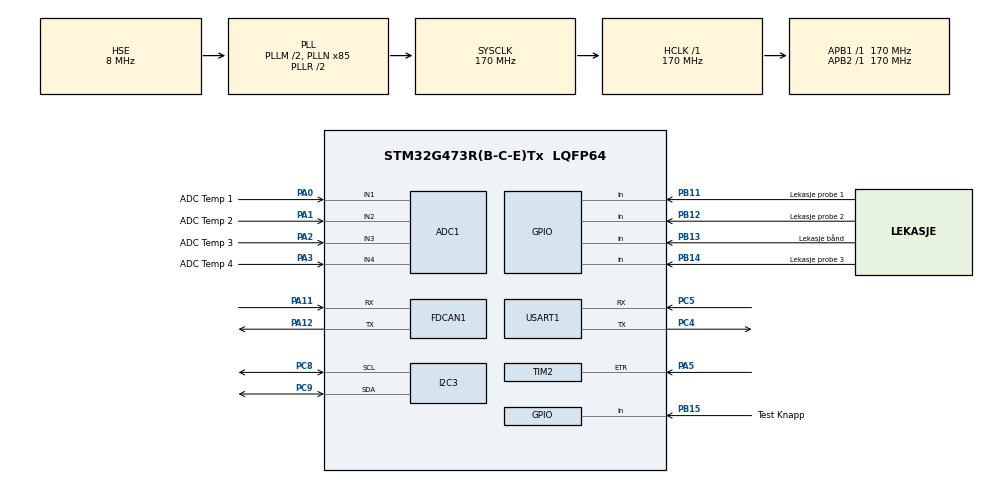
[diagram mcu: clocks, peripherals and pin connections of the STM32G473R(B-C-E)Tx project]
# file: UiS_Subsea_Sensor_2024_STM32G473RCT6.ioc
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ADC1.Channel-0\#ChannelRegularConversion=ADC_CHANNEL_1
ADC1.ContinuousConvMode=ENABLE
ADC1.DMAContinuousRequests=ENABLE
ADC1.NbrOfConversionFlag=1
ADC1.OffsetNumber-0\#ChannelRegularConversion=ADC_OFFSET_NONE
ADC1.Rank-0\#ChannelRegularConversion=1
ADC1.SamplingTime-0\#ChannelRegularConversion=ADC_SAMPLETIME_2CYCLES_5
ADC1.master=1
Dma.ADC1.0.Direction=DMA_PERIPH_TO_MEMORY
Dma.ADC1.0.EventEnable=DISABLE
Dma.ADC1.0.Instance=DMA1_Channel1
Dma.ADC1.0.MemDataAlignment=DMA_MDATAALIGN_HALFWORD
Dma.ADC1.0.MemInc=DMA_MINC_ENABLE
Dma.ADC1.0.Mode=DMA_NORMAL
Dma.ADC1.0.PeriphDataAlignment=DMA_PDATAALIGN_HALFWORD
Dma.ADC1.0.PeriphInc=DMA_PINC_DISABLE
Dma.ADC1.0.Polarity=HAL_DMAMUX_REQ_GEN_RISING
Dma.ADC1.0.Priority=DMA_PRIORITY_LOW
Dma.ADC1.0.RequestNumber=1
Dma.ADC1.0.SignalID=NONE
Dma.ADC1.0.SyncEnable=DISABLE
Dma.ADC1.0.SyncPolarity=HAL_DMAMUX_SYNC_NO_EVENT
Dma.ADC1.0.SyncRequestNumber=1
Dma.ADC1.0.SyncSignalID=NONE
Dma.Request0=ADC1
FDCAN1.AutoRetransmission=ENABLE
FDCAN1.CalculateBaudRateNominal=999999
FDCAN1.CalculateTimeBitNominal=1000
FDCAN1.CalculateTimeQuantumNominal=5.882352941176471
FDCAN1.DataPrescaler=2
FDCAN1.DataSyncJumpWidth=12
FDCAN1.DataTimeSeg1=21
FDCAN1.DataTimeSeg2=12
FDCAN1.FrameFormat=FDCAN_FRAME_FD_BRS
FDCAN1.Mode=FDCAN_MODE_NORMAL
FDCAN1.NominalPrescaler=1
FDCAN1.NominalSyncJumpWidth=44
FDCAN1.NominalTimeSeg1=125
FDCAN1.NominalTimeSeg2=44
FDCAN1.StdFiltersNbr=1
I2C3.Timing=0x30A0A7FB
Mcu.Family=STM32G4
Mcu.Name=STM32G473R(B-C-E)Tx
Mcu.Package=LQFP64
NVIC.ADC1_2_IRQn=true\:3\:0\:true\:false\:true\:true\:true\:true
NVIC.DMA1_Channel1_IRQn=true\:0\:0\:false\:false\:true\:false\:true\:true
NVIC.FDCAN1_IT0_IRQn=true\:0\:0\:false\:false\:true\:true\:true\:true
NVIC.FDCAN1_IT1_IRQn=true\:0\:0\:false\:false\:true\:true\:true\:true
NVIC.I2C3_EV_IRQn=true\:3\:0\:true\:false\:true\:true\:true\:true
NVIC.PriorityGroup=NVIC_PRIORITYGROUP_4
NVIC.TIM2_IRQn=true\:5\:0\:true\:false\:true\:true\:true\:true
NVIC.USART1_IRQn=true\:2\:0\:true\:false\:true\:true\:true\:true
PA0.GPIO_Label=ADC Temp 1
PA0.Mode=IN1-Single-Ended
PA0.Signal=ADC1_IN1
PA1.GPIO_Label=ADC Temp 2
PA1.Mode=IN2-Single-Ended
PA1.Signal=ADC1_IN2
PA11.Mode=FDCAN_Activate
PA11.Signal=FDCAN1_RX
PA12.Mode=FDCAN_Activate
PA12.Signal=FDCAN1_TX
PA13.Mode=Trace_Asynchronous_SW
PA13.Signal=SYS_JTMS-SWDIO
PA14.Mode=Trace_Asynchronous_SW
PA14.Signal=SYS_JTCK-SWCLK
PA2.GPIO_Label=ADC Temp 3
PA2.Mode=IN3-Single-Ended
PA2.Signal=ADC1_IN3
PA3.GPIO_Label=ADC Temp 4
PA3.Mode=IN4-Single-Ended
PA3.Signal=ADC1_IN4
PA5.Signal=S_TIM2_ETR
PB11.GPIO_Label=Lekasje probe 1
PB11.Signal=GPIO_Input
PB12.GPIO_Label=Lekasje probe 2
PB12.Signal=GPIO_Input
PB13.GPIO_Label=Lekasje b\u00E5nd
PB13.Signal=GPIO_Input
PB14.GPIO_Label=Lekasje probe 3
PB14.Signal=GPIO_Input
PB15.GPIO_Label=Test Knapp
PB15.Signal=GPIO_Input
PB3.Mode=Trace_Asynchronous_SW
PB3.Signal=SYS_JTDO-SWO
PC4.Mode=Asynchronous
PC4.Signal=USART1_TX
PC5.Mode=Asynchronous
PC5.Signal=USART1_RX
PC8.Mode=I2C
PC8.Signal=I2C3_SCL
PC9.Mode=I2C
PC9.Signal=I2C3_SDA
PF0-OSC_IN.Mode=HSE-External-Oscillator
PF0-OSC_IN.Signal=RCC_OSC_IN
PF1-OSC_OUT.Mode=HSE-External-Oscillator
PF1-OSC_OUT.Signal=RCC_OSC_OUT
ProjectManager.HeapSize=0x200
ProjectManager.StackSize=0x400
ProjectManager.TargetToolchain=STM32CubeIDE
RCC.ADC12Freq_Value=170000000
RCC.ADC345Freq_Value=170000000
RCC.AHBFreq_Value=170000000
RCC.APB1Freq_Value=170000000
RCC.APB1TimFreq_Value=170000000
RCC.APB2Freq_Value=170000000
RCC.APB2TimFreq_Value=170000000
RCC.CortexFreq_Value=170000000
RCC.EXTERNAL_CLOCK_VALUE=12288000
RCC.HCLKFreq_Value=170000000
RCC.HSE_VALUE=8000000
RCC.HSI48_VALUE=48000000
RCC.HSI_VALUE=16000000
RCC.LSE_VALUE=32768
RCC.PLLM=RCC_PLLM_DIV2
RCC.PLLN=85
RCC.PLLSourceVirtual=RCC_PLLSOURCE_HSE
RCC.SYSCLKFreq_VALUE=170000000
RCC.SYSCLKSource=RCC_SYSCLKSOURCE_PLLCLK
RCC.USBFreq_Value=170000000
RCC.VCOOutputFreq_Value=340000000
SH.S_TIM2_ETR.0=TIM2_ETR,ClockSourceETR_Mode2
TIM3.PeriodNoDither=1000-1
TIM3.Prescaler=16000-1
TIM3.TIM_MasterSlaveMode=TIM_MASTERSLAVEMODE_ENABLE
USART1.VirtualMode-Asynchronous=VM_ASYNC
VP_CORDIC_VS_CORDIC.Mode=CORDIC_Activate
VP_CRC_VS_CRC.Mode=CRC_Activate
VP_FMAC_VS_FMAC.Mode=FMAC_Activate
VP_SYS_VS_DBSignals.Mode=DisableDeadBatterySignals
VP_TIM2_VS_ClockSourceITR.Mode=TriggerSource_ITR0
VP_TIM3_VS_ClockSourceINT.Mode=Internal
board=custom

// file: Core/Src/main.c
/* USER CODE BEGIN Header */
/**
  ******************************************************************************
  * @file           : main.c
  * @brief          : Main program body
  ******************************************************************************
  * @attention
  *
  * Copyright (c) 2024 STMicroelectronics.
  * All rights reserved.
  *
  * This software is licensed under terms that can be found in the LICENSE file
  * in the root directory of this software component.
  * If no LICENSE file comes with this software, it is provided AS-IS.
  *
  ******************************************************************************
  */
/* USER CODE END Header */
#include "main.h"
#include "adc.h"
#include "cordic.h"
#include "crc.h"
#include "dma.h"
#include "fdcan.h"
#include "fmac.h"
#include "i2c.h"
#include "tim.h"
#include "usart.h"
#include "gpio.h"

/* USER CODE BEGIN Includes */
#include <stdint.h>
#include <stdlib.h>
#include <string.h>
#include <stdio.h>
#include "MS5837-30BA.h"
//#include "arm_math.h"
#include "EMA.h"
/* USER CODE END Includes */

/* USER CODE BEGIN PD */
#define numChannels 4
#define __VREFANALOG_VOLTAGE_ 3300
/* USER CODE END PD */

/* USER CODE BEGIN PV */

//-----------------lekkasje------------
uint8_t lekkasje = 0;

//-----------------Temp----------------
EMA ema_filter;

uint8_t convCompleted = 0;

//uint16_t temp1 = 0;
//uint16_t temp2 = 0;
//uint16_t temp3 = 0;
//uint16_t temp4 = 0;

uint16_t tempBuf[numChannels];
uint16_t filtrertTemp[numChannels];

//-----------------Trykk---------------------

//static const uint8_t pressure_sensor_adress = 0x76 << 1;//7Bit adresse plus les/skriv bit
//static const uint8_t reset_pressure_sens = 0x1E;
//static const uint8_t press_sens_temp_reg = 0x40;
//static const uint8_t press_sens_pres_reg = 0x42;
//static const uint8_t pressuresens_read = 0x00;

//-----------------DVL-----------------------
struct m_wrz wrz;
struct m_wru wru;
struct m_wrp wrp;
uint8_t send_msg = 0;
uint8_t send_dvl = 0;
uint8_t new_uart = 0;
uint8_t dvl_mask = 0;
uint8_t dvl_mask2 = 0;
char dvl_conf[] = "wcs,1481,,y,n,,";
char rx_buffer[MAX_AMOUNT_BUFFERS][RX_BUFFER_SIZE];
char DVL_Parced[MAX_AMOUNT_BUFFERS][MAX_NUM_WORDS][MAX_WORD_LENGTH];

// Velger samplingsrate (se enum i MS5837-30BA.c)
ms5837_t pressuresensor; // Initialiserer en pressuresensor struct
/* USER CODE END PV */

void SystemClock_Config(void);

int main(void)
{
  /* USER CODE BEGIN 1 */

	//-------------------Temp---------------
	float alpha = 0.5f; // Definer alfa-verdi for EMA-filter

	//------------TRYKK----------------

	HAL_StatusTypeDef i2c_ret;
	uint8_t i2c_buffer[10];

	pressuresensor.i2c_address = 0x76; // Setter adressen til riktig adresse

	//-------------------DVL----------------
	char rx_buffer[MAX_AMOUNT_BUFFERS][RX_BUFFER_SIZE];
	char DVL_Parced[MAX_AMOUNT_BUFFERS][RX_BUFFER_SIZE];

  /* USER CODE END 1 */

  /* MCU Configuration--------------------------------------------------------*/

  /* Reset of all peripherals, Initializes the Flash interface and the Systick. */
  HAL_Init();

  /* USER CODE BEGIN Init */
  EMA_Init(&ema_filter, alpha);
  /* USER CODE END Init */

  /* Configure the system clock */
  SystemClock_Config();

  /* Initialize all configured peripherals */
  MX_GPIO_Init();
  MX_DMA_Init();
  MX_ADC1_Init();
  MX_FDCAN1_Init();
  MX_I2C3_Init();
  MX_USART1_UART_Init();
  MX_CORDIC_Init();
  MX_CRC_Init();
  MX_FMAC_Init();
  MX_TIM2_Init();
  MX_TIM3_Init();
  /* USER CODE BEGIN 2 */

  //-----------CANFD Oppstart--------------
  CANFD_Init();

  //-----------UART Oppstart---------------
  LL_USART_EnableIT_RXNE(USART1);
  LL_USART_EnableIT_ERROR(USART1);
  //------------Temp oppstart---------------------------

  HAL_ADCEx_Calibration_Start(&hadc1, ADC_SINGLE_ENDED);
  HAL_ADC_Start_DMA(&hadc1, (uint32_t*) tempBuf, numChannels);
  HAL_TIM_Base_Start(&htim3);
  //-----------pressuresensor/I2C Oppstart----

  //Nullstill sensor
  ms5837_reset(&pressuresensor); // Nullstiller pressuresensoren
  HAL_Delay(30);
  ms5837_read_calibration_data(&pressuresensor); // Henter ut kalibreringsverdier
  ms5837_start_conversion(&pressuresensor, SENSOR_PRESSURE, OSR_4096);
  // Read calibration data

  //--------------------------------------

  /* USER CODE END 2 */

  /* Infinite loop */
  while (1)
  {

    /* USER CODE BEGIN 3 */

	  //------------TRYKK---------------

	  //-----------TEMP-----------------
	  while (convCompleted !=1){

	  	  }

	  	  convCompleted = 0;

	  	  HAL_ADC_Start_DMA(&hadc1, (uint32_t*)tempBuf, numChannels);

	  //pressuresensor
//	  if (ms5837_read_calibration_data(&pressuresensor)) {
//	      // Klarer å lese
//		  ms5837_start_conversion(&pressuresensor, type, osr); // Begynner konvertering av verdi
//		  ms5837_read_conversion(&pressuresensor); // Leser konvertert verdi
//		  ms5837_calculate(&pressuresensor); // Beregner faktisk for verdi temp og trykk
//	  } else {
//	      // Klarer ikke å lese
//	  }

//		uint8_t liste1[] = {0x18, 0x34, 0x56, 0x34, 0x56, 0x34, 0x34, 0x22,0x12, 0x34, 0x56, 0x34, 0x56, 0x34, 0x34, 0x22,0x12, 0x34, 0x56, 0x34, 0x56, 0x34, 0x34, 0x22,0x12, 0x34, 0x56, 0x34, 0x56, 0x34, 0x34, 0x22,0x12, 0x34, 0x56, 0x34, 0x56, 0x34, 0x34, 0x22,0x12, 0x34, 0x56, 0x34, 0x56, 0x34, 0x34, 0x22,0x12, 0x34, 0x56, 0x34, 0x56, 0x34, 0x34, 0x22,0x12, 0x34, 0x56, 0x34, 0x56, 0x34, 0x34, 0x22};
//			SendData(0x310, liste1, sizeof(liste1), uint8);
//			HAL_Delay(300);

	  }

			/* hi2c er hvilken i2c modul som skal brukes
			 * adresse7bit er shiftet til venstre for å read(0) eller write(1) som lsb
			 * adressen hvor kommandoen som skal sendes er lagret
			 * antall byte som sendes
			 * Timeout
			 * */

//
//	  void ms5837_i2c_read(ms5837_t *sensor, uint8_t command, uint8_t *data, uint8_t num_bytes);
//	  void ms5837_i2c_write(ms5837_t *sensor, uint8_t command);

//			HAL_I2C_Master_Transmit(&hi2c3,0x76<<1,&command, sizeof(command), Timeout);
//			HAL_I2C_Master_Receive(&hi2c3,((0x76<<1)|0x1), &command, sizeof(command), Timeout);
//
//			HAL_I2C_Mem_Write(&hi2c3, 0xED, 0, 3, &pData, 1, Timeout);
//			HAL_I2C_Mem_Read(&hi2c3, 0xEC, 0, 1, &pData, 3, Timeout);

  /* USER CODE END 3 */
}

void SystemClock_Config(void)
{
  RCC_OscInitTypeDef RCC_OscInitStruct = {0};
  RCC_ClkInitTypeDef RCC_ClkInitStruct = {0};

  /** Configure the main internal regulator output voltage
  */
  HAL_PWREx_ControlVoltageScaling(PWR_REGULATOR_VOLTAGE_SCALE1_BOOST);

  /** Initializes the RCC Oscillators according to the specified parameters
  * in the RCC_OscInitTypeDef structure.
  */
  RCC_OscInitStruct.OscillatorType = RCC_OSCILLATORTYPE_HSE;
  RCC_OscInitStruct.HSEState = RCC_HSE_ON;
  RCC_OscInitStruct.PLL.PLLState = RCC_PLL_ON;
  RCC_OscInitStruct.PLL.PLLSource = RCC_PLLSOURCE_HSE;
  RCC_OscInitStruct.PLL.PLLM = RCC_PLLM_DIV2;
  RCC_OscInitStruct.PLL.PLLN = 85;
  RCC_OscInitStruct.PLL.PLLP = RCC_PLLP_DIV2;
  RCC_OscInitStruct.PLL.PLLQ = RCC_PLLQ_DIV2;
  RCC_OscInitStruct.PLL.PLLR = RCC_PLLR_DIV2;
  if (HAL_RCC_OscConfig(&RCC_OscInitStruct) != HAL_OK)
  {
    Error_Handler();
  }

  /** Initializes the CPU, AHB and APB buses clocks
  */
  RCC_ClkInitStruct.ClockType = RCC_CLOCKTYPE_HCLK|RCC_CLOCKTYPE_SYSCLK
                              |RCC_CLOCKTYPE_PCLK1|RCC_CLOCKTYPE_PCLK2;
  RCC_ClkInitStruct.SYSCLKSource = RCC_SYSCLKSOURCE_PLLCLK;
  RCC_ClkInitStruct.AHBCLKDivider = RCC_SYSCLK_DIV1;
  RCC_ClkInitStruct.APB1CLKDivider = RCC_HCLK_DIV1;
  RCC_ClkInitStruct.APB2CLKDivider = RCC_HCLK_DIV1;

  if (HAL_RCC_ClockConfig(&RCC_ClkInitStruct, FLASH_LATENCY_4) != HAL_OK)
  {
    Error_Handler();
  }
}

/* USER CODE BEGIN 4 */

void HAL_ADC_ConvCpltCallback(ADC_HandleTypeDef*hadc){

	convCompleted =1;
	HAL_ADC_Stop_DMA(&hadc1);

	  for (int i = 0; i < numChannels; i++) {
		  // Konverter ADC-verdier til mv
	    float input_value = __HAL_ADC_CALC_DATA_TO_VOLTAGE(__VREFANALOG_VOLTAGE_, tempBuf[i], ADC_RESOLUTION12b);
	    filtrertTemp[i] = EMA_Update(&ema_filter, input_value);

	    // Konvertere fra mv til celsius:
	    // EKSEMPEL --- float temperatureC = (voltage - 0.5) * 100; --- 0.5 er offsettet til
	    	// sensor i eksempel da den gir ut 0.5V ved 0 grader C, og den gir ut 10 mv/C
	   // float celsius = (filtrertTemp[i] - offset) *100;  // annet tall enn 100?

	  }

}

/*Sjekker først om en av pinnene har logisk høy verdi */
void Lekk(void){
	if((GPIOB->IDR & LL_GPIO_PIN_11) || (GPIOB->IDR & LL_GPIO_PIN_12) || (GPIOB->IDR & LL_GPIO_PIN_13) || (GPIOB->IDR & LL_GPIO_PIN_14)  	|| (GPIOB->IDR & LL_GPIO_PIN_15)) {

						/*Dersom en av pinnene er høy lages en maske som forteller hvor lekkasjen er. */
		  		  	  if(GPIOB->IDR & LL_GPIO_PIN_11){
		  		  		  lekkasje |= 0x1;
		  		  	  }
		  		  	  if(GPIOB->IDR & LL_GPIO_PIN_12){
		  		  		  lekkasje |= 0x2;
		  		  	  }
		  		  	  if(GPIOB->IDR & LL_GPIO_PIN_13){
		  		  		  lekkasje |= 0x4;
		  		  	  }
		  		  	  if(GPIOB->IDR & LL_GPIO_PIN_14){
		  		  		  lekkasje |= 0x8;
		  		  	  }

		  		  	  //knapp kun for testing
//		  		  	  if(GPIOB->IDR & LL_GPIO_PIN_15){
//		  		  		  lekkasje |= 0x10;
//		  		  	  }
	}
	  if (lekkasje > 0){
		  send_msg |= 0x4;
	  }
}

/* USER CODE END 4 */

void Error_Handler(void)
{
  __disable_irq();
  while (1)
  {
  }
}
